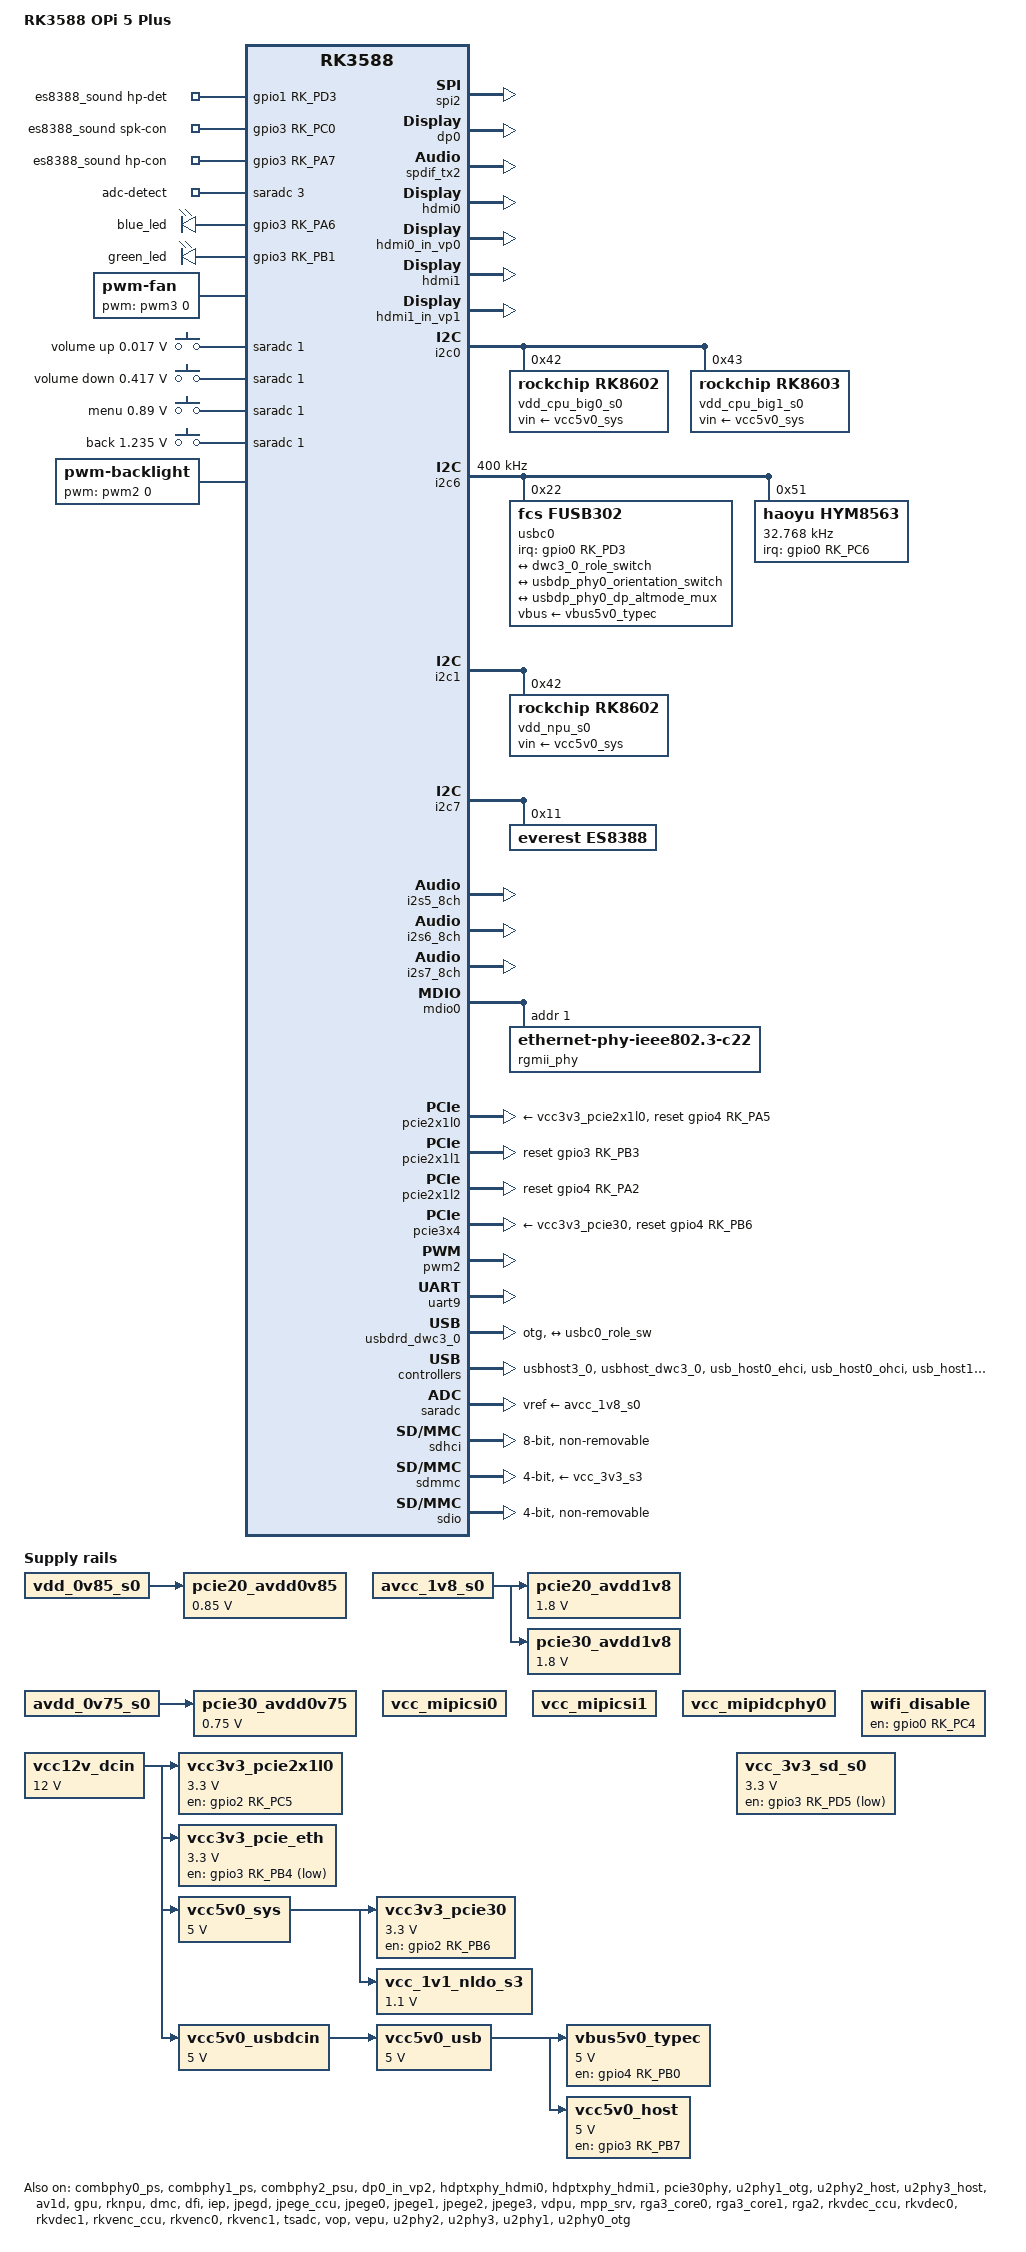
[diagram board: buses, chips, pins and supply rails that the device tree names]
// SPDX-License-Identifier: (GPL-2.0+ OR MIT)
/*
 * Copyright (c) 2022 Rockchip Electronics Co., Ltd.
 *
 */

/dts-v1/;

#include <dt-bindings/gpio/gpio.h>
#include <dt-bindings/leds/common.h>
#include <dt-bindings/pwm/pwm.h>
#include <dt-bindings/pinctrl/rockchip.h>
#include <dt-bindings/input/rk-input.h>
#include <dt-bindings/display/drm_mipi_dsi.h>
#include <dt-bindings/display/rockchip_vop.h>
#include <dt-bindings/sensor-dev.h>
#include "dt-bindings/usb/pd.h"
#include "rk3588.dtsi"
#include "rk3588-rk806-single.dtsi"
#include "rk3588-linux.dtsi"

/ {
    model = "RK3588 OPi 5 Plus";
	compatible = "rockchip,rk3588-orangepi-5-plus", "rockchip,rk3588";

    /delete-node/ chosen;


    /* If hdmirx node is disabled, delete the reserved-memory node here. */
	reserved-memory {
		#address-cells = <2>;
		#size-cells = <2>;
		ranges;

		/* Reserve 128MB memory for hdmirx-controller@fdee0000 */
		cma {
			compatible = "shared-dma-pool";
			reusable;
			reg = <0x0 (256 * 0x100000) 0x0 (256 * 0x100000)>;
			linux,cma-default;
		};
	};

	hdmiin_dc: hdmiin-dc {
		compatible = "rockchip,dummy-codec";
		#sound-dai-cells = <0>;
	};

	es8388_sound: es8388-sound {
		status = "okay";
		compatible = "rockchip,multicodecs-card";
		rockchip,card-name = "rockchip,es8388";
		hp-det-gpio = <&gpio1 RK_PD3 GPIO_ACTIVE_HIGH>;
		io-channels = <&saradc 3>;
		io-channel-names = "adc-detect";
		keyup-threshold-microvolt = <1800000>;
		poll-interval = <100>;
		spk-con-gpio = <&gpio3 RK_PC0 GPIO_ACTIVE_HIGH>;
		hp-con-gpio = <&gpio3 RK_PA7 GPIO_ACTIVE_HIGH>;
		rockchip,format = "i2s";
		rockchip,mclk-fs = <256>;
		rockchip,cpu = <&i2s0_8ch>;
		rockchip,codec = <&es8388>;
		rockchip,audio-routing =
			"Headphone", "LOUT1",
			"Headphone", "ROUT1",
			"Speaker", "LOUT2",
			"Speaker", "ROUT2",
			"Headphone", "Headphone Power",
			"Headphone", "Headphone Power",
			"Speaker", "Speaker Power",
			"Speaker", "Speaker Power",
			"LINPUT1", "Main Mic",
			"LINPUT2", "Main Mic",
			"RINPUT1", "Headset Mic",
			"RINPUT2", "Headset Mic";
		pinctrl-names = "default";
		pinctrl-0 = <&hp_det>;
		play-pause-key {
			label = "playpause";
			linux,code = <KEY_PLAYPAUSE>;
			press-threshold-microvolt = <2000>;
		};
	};


	hdmiin-sound {
		compatible = "simple-audio-card";
		simple-audio-card,format = "i2s";
		simple-audio-card,name = "rockchip,hdmiin";
		simple-audio-card,bitclock-master = <&dailink0_master>;
		simple-audio-card,frame-master = <&dailink0_master>;
		status = "okay";
		simple-audio-card,cpu {
			sound-dai = <&i2s7_8ch>;
		};
		dailink0_master: simple-audio-card,codec {
			sound-dai = <&hdmiin_dc>;
		};
	};

	pcie20_avdd0v85: pcie20-avdd0v85 {
		compatible = "regulator-fixed";
		regulator-name = "pcie20_avdd0v85";
		regulator-boot-on;
		regulator-always-on;
		regulator-min-microvolt = <850000>;
		regulator-max-microvolt = <850000>;
		vin-supply = <&vdd_0v85_s0>;
	};

	pcie20_avdd1v8: pcie20-avdd1v8 {
		compatible = "regulator-fixed";
		regulator-name = "pcie20_avdd1v8";
		regulator-boot-on;
		regulator-always-on;
		regulator-min-microvolt = <1800000>;
		regulator-max-microvolt = <1800000>;
		vin-supply = <&avcc_1v8_s0>;
	};

	pcie30_avdd0v75: pcie30-avdd0v75 {
		compatible = "regulator-fixed";
		regulator-name = "pcie30_avdd0v75";
		regulator-boot-on;
		regulator-always-on;
		regulator-min-microvolt = <750000>;
		regulator-max-microvolt = <750000>;
		vin-supply = <&avdd_0v75_s0>;
	};

	pcie30_avdd1v8: pcie30-avdd1v8 {
		compatible = "regulator-fixed";
		regulator-name = "pcie30_avdd1v8";
		regulator-boot-on;
		regulator-always-on;
		regulator-min-microvolt = <1800000>;
		regulator-max-microvolt = <1800000>;
		vin-supply = <&avcc_1v8_s0>;
	};

	rk_headset: rk-headset {
		status = "disabled";
		compatible = "rockchip_headset";
		headset_gpio = <&gpio1 RK_PD3 GPIO_ACTIVE_HIGH>;
		pinctrl-names = "default";
		pinctrl-0 = <&hp_det>;
		io-channels = <&saradc 3>;
	};

	vbus5v0_typec: vbus5v0-typec {
		compatible = "regulator-fixed";
		regulator-name = "vbus5v0_typec";
		regulator-min-microvolt = <5000000>;
		regulator-max-microvolt = <5000000>;
		enable-active-high;
		gpio = <&gpio4 RK_PB0 GPIO_ACTIVE_HIGH>;
		vin-supply = <&vcc5v0_usb>;
		pinctrl-names = "default";
		pinctrl-0 = <&typec5v_pwren>;
	};

	vcc3v3_pcie30: vcc3v3-pcie30 {
		compatible = "regulator-fixed";
		regulator-name = "vcc3v3_pcie30";
		regulator-min-microvolt = <3300000>;
		regulator-max-microvolt = <3300000>;
		enable-active-high;
		gpios = <&gpio2 RK_PB6 GPIO_ACTIVE_HIGH>;
		startup-delay-us = <5000>;
		vin-supply = <&vcc5v0_sys>;
	};

	vcc5v0_host: vcc5v0-host {
		compatible = "regulator-fixed";
		regulator-name = "vcc5v0_host";
		regulator-boot-on;
		regulator-always-on;
		regulator-min-microvolt = <5000000>;
		regulator-max-microvolt = <5000000>;
		enable-active-high;
		gpio = <&gpio3 RK_PB7 GPIO_ACTIVE_HIGH>;
		vin-supply = <&vcc5v0_usb>;
		pinctrl-names = "default";
		pinctrl-0 = <&vcc5v0_host_en>;
	};

	vcc3v3_pcie2x1l0: vcc3v3-pcie2x1l0 {
		compatible = "regulator-fixed";
		regulator-name = "vcc3v3_pcie2x1l0";
		regulator-min-microvolt = <3300000>;
		regulator-max-microvolt = <3300000>;
		enable-active-high;
		gpios = <&gpio2 RK_PC5 GPIO_ACTIVE_HIGH>;
		startup-delay-us = <50000>;
		vin-supply = <&vcc12v_dcin>;
	};

	vcc3v3_pcie_eth: vcc3v3-pcie-eth {
		compatible = "regulator-fixed";
		regulator-name = "vcc3v3_pcie_eth";
		regulator-min-microvolt = <3300000>;
		regulator-max-microvolt = <3300000>;
		regulator-boot-on;
		regulator-always-on;
		enable-active-low;
		gpios = <&gpio3 RK_PB4 GPIO_ACTIVE_LOW>;
		startup-delay-us = <50000>;
		vin-supply = <&vcc12v_dcin>;
	};

	vcc_mipicsi0: vcc-mipicsi0-regulator {
		compatible = "regulator-fixed";
		regulator-name = "vcc_mipicsi0";
		enable-active-high;
	};

	vcc_mipicsi1: vcc-mipicsi1-regulator {
		compatible = "regulator-fixed";
		regulator-name = "vcc_mipicsi1";
		enable-active-high;
	};

	vcc_mipidcphy0: vcc-mipidcphy0-regulator {
		compatible = "regulator-fixed";
		regulator-name = "vcc_mipicsi1";
		enable-active-high;
	};

	wireless_bluetooth: wireless-bluetooth {
		compatible = "bluetooth-platdata";
		clocks = <&hym8563>;
		clock-names = "ext_clock";
		uart_rts_gpios = <&gpio4 RK_PC4 GPIO_ACTIVE_LOW>;
		pinctrl-names = "default", "rts_gpio";
		pinctrl-0 = <&uart9m0_rtsn>, <&bt_reset_gpio>, <&bt_wake_gpio>, <&bt_irq_gpio>;
		pinctrl-1 = <&uart9_gpios>;
		BT,reset_gpio    = <&gpio0 RK_PC5 GPIO_ACTIVE_HIGH>;
		BT,wake_gpio     = <&gpio4 RK_PC6 GPIO_ACTIVE_HIGH>;
		BT,wake_host_irq = <&gpio0 RK_PA0 GPIO_ACTIVE_HIGH>;
		status = "disabled";
	};

	wireless_wlan: wireless-wlan {
		compatible = "wlan-platdata";
		wifi_chip_type = "ap6275p";
		pinctrl-names = "default";
		pinctrl-0 = <&wifi_host_wake_irq>;
		WIFI,host_wake_irq = <&gpio0 RK_PB0 GPIO_ACTIVE_HIGH>;
		status = "disabled";
	};

	wifi_disable: wifi-diable-gpio-regulator {
		compatible = "regulator-fixed";
		regulator-name = "wifi_disable";
		enable-active-high;
		gpio = <&gpio0 RK_PC4 GPIO_ACTIVE_HIGH>;
		regulator-boot-on;
		regulator-always-on;
	};

	leds: gpio-leds {
		compatible = "gpio-leds";
		pinctrl-names = "default";
		pinctrl-0 =<&leds_rgb>;
		status = "okay";

		blue_led@1 {
			gpios = <&gpio3 RK_PA6 GPIO_ACTIVE_HIGH>;
			label = "blue_led";
			linux,default-trigger = "heartbeat";
			linux,default-trigger-delay-ms = <0>;
		};

		green_led@2 {
			gpios = <&gpio3 RK_PB1 GPIO_ACTIVE_HIGH>;
			label = "green_led";
			linux,default-trigger = "heartbeat";
			linux,default-trigger-delay-ms = <0>;
		};
	};

	fan: pwm-fan {
		compatible = "pwm-fan";
		#cooling-cells = <2>;
		pwms = <&pwm3 0 50000 0>;
		cooling-levels = <0 50 100 150 200 255>;
		rockchip,temp-trips = <
			50000   1
			55000   2
			60000   3
			65000   4
			70000   5
		>;

		status = "okay";
	};

	adc_keys: adc-keys {
		compatible = "adc-keys";
		io-channels = <&saradc 1>;
		io-channel-names = "buttons";
		keyup-threshold-microvolt = <1800000>;
		poll-interval = <100>;

		vol-up-key {
			label = "volume up";
			linux,code = <KEY_VOLUMEUP>;
			press-threshold-microvolt = <17000>;
		};

		vol-down-key {
			label = "volume down";
			linux,code = <KEY_VOLUMEDOWN>;
			press-threshold-microvolt = <417000>;
		};

		menu-key {
			label = "menu";
			linux,code = <KEY_MENU>;
			press-threshold-microvolt = <890000>;
		};

		back-key {
			label = "back";
			linux,code = <KEY_BACK>;
			press-threshold-microvolt = <1235000>;
		};
	};

	backlight: backlight {
		compatible = "pwm-backlight";
		brightness-levels = <
			  0  20  20  21  21  22  22  23
			 23  24  24  25  25  26  26  27
			 27  28  28  29  29  30  30  31
			 31  32  32  33  33  34  34  35
			 35  36  36  37  37  38  38  39
			 40  41  42  43  44  45  46  47
			 48  49  50  51  52  53  54  55
			 56  57  58  59  60  61  62  63
			 64  65  66  67  68  69  70  71
			 72  73  74  75  76  77  78  79
			 80  81  82  83  84  85  86  87
			 88  89  90  91  92  93  94  95
			 96  97  98  99 100 101 102 103
			104 105 106 107 108 109 110 111
			112 113 114 115 116 117 118 119
			120 121 122 123 124 125 126 127
			128 129 130 131 132 133 134 135
			136 137 138 139 140 141 142 143
			144 145 146 147 148 149 150 151
			152 153 154 155 156 157 158 159
			160 161 162 163 164 165 166 167
			168 169 170 171 172 173 174 175
			176 177 178 179 180 181 182 183
			184 185 186 187 188 189 190 191
			192 193 194 195 196 197 198 199
			200 201 202 203 204 205 206 207
			208 209 210 211 212 213 214 215
			216 217 218 219 220 221 222 223
			224 225 226 227 228 229 230 231
			232 233 234 235 236 237 238 239
			240 241 242 243 244 245 246 247
			248 249 250 251 252 253 254 255
		>;
		default-brightness-level = <200>;
	};

	test-power {
		status = "disabled";
	};

	vcc12v_dcin: vcc12v-dcin {
		compatible = "regulator-fixed";
		regulator-name = "vcc12v_dcin";
		regulator-always-on;
		regulator-boot-on;
		regulator-min-microvolt = <12000000>;
		regulator-max-microvolt = <12000000>;
	};
	vcc5v0_sys: vcc5v0-sys {
		compatible = "regulator-fixed";
		regulator-name = "vcc5v0_sys";
		regulator-always-on;
		regulator-boot-on;
		regulator-min-microvolt = <5000000>;
		regulator-max-microvolt = <5000000>;
		vin-supply = <&vcc12v_dcin>;
	};
	vcc5v0_usbdcin: vcc5v0-usbdcin {
		compatible = "regulator-fixed";
		regulator-name = "vcc5v0_usbdcin";
		regulator-always-on;
		regulator-boot-on;
		regulator-min-microvolt = <5000000>;
		regulator-max-microvolt = <5000000>;
		vin-supply = <&vcc12v_dcin>;
	};

	vcc5v0_usb: vcc5v0-usb {
		compatible = "regulator-fixed";
		regulator-name = "vcc5v0_usb";
		regulator-always-on;
		regulator-boot-on;
		regulator-min-microvolt = <5000000>;
		regulator-max-microvolt = <5000000>;
		vin-supply = <&vcc5v0_usbdcin>;
	};

	spi2: spi@feb20000 {
		compatible = "rockchip,rk3066-spi";
		reg = <0x0 0xfeb20000 0x0 0x1000>;
		interrupts = <GIC_SPI 328 IRQ_TYPE_LEVEL_HIGH>;
		#address-cells = <1>;
		#size-cells = <0>;
		clocks = <&cru CLK_SPI2>, <&cru PCLK_SPI2>;
		clock-names = "spiclk", "apb_pclk";
		dmas = <&dmac1 15>, <&dmac1 16>;
		dma-names = "tx", "rx";
		pinctrl-names = "default";
		pinctrl-0 = <&spi2m2_cs0 &spi2m2_pins>;
		num-cs = <2>;
		status = "okay";
	};

	vcc_1v1_nldo_s3: vcc-1v1-nldo-s3 {
		compatible = "regulator-fixed";
		regulator-name = "vcc_1v1_nldo_s3";
		regulator-always-on;
		regulator-boot-on;
		regulator-min-microvolt = <1100000>;
		regulator-max-microvolt = <1100000>;
		vin-supply = <&vcc5v0_sys>;
	};

	vcc_3v3_sd_s0: vcc-3v3-sd-s0 {
		compatible = "regulator-fixed";
		regulator-name = "vcc_3v3_sd_s0";
		regulator-min-microvolt = <3300000>;
		regulator-max-microvolt = <3300000>;
		gpios = <&gpio3 RK_PD5 GPIO_ACTIVE_LOW>;
		pinctrl-names = "default";
		pinctrl-0 = <&sdmmc_pwr>;
		enable-active-low;
	};

	dp0_sound: dp0-sound {
		status = "disabled";
		compatible = "rockchip,hdmi";
		rockchip,card-name= "rockchip,dp0";
		rockchip,mclk-fs = <512>;
		rockchip,cpu = <&spdif_tx2>;
		rockchip,codec = <&dp0 1>;
		rockchip,jack-det;
	};

	dp1_sound: dp1-sound {
		status = "disabled";
		compatible = "rockchip,hdmi";
		rockchip,card-name= "rockchip,dp1";
		rockchip,mclk-fs = <512>;
		rockchip,cpu = <&spdif_tx5>;
		rockchip,codec = <&dp1 1>;
		rockchip,jack-det;
	};

	hdmi0_sound: hdmi0-sound {
		status = "disabled";
		compatible = "rockchip,hdmi";
		rockchip,mclk-fs = <128>;
		rockchip,card-name = "rockchip-hdmi0";
		rockchip,cpu = <&i2s5_8ch>;
		rockchip,codec = <&hdmi0>;
		rockchip,jack-det;
	};

	hdmi1_sound: hdmi1-sound {
		status = "disabled";
		compatible = "rockchip,hdmi";
		rockchip,mclk-fs = <128>;
		rockchip,card-name = "rockchip-hdmi1";
		rockchip,cpu = <&i2s6_8ch>;
		rockchip,codec = <&hdmi1>;
		rockchip,jack-det;
	};


};


&dsi0 {
	status = "disabled";
	//rockchip,lane-rate = <1000>;
	dsi0_panel: panel@0 {
		status = "disabled";
		compatible = "innolux,afj101-ba2131";
		reg = <0>;
		backlight = <&backlight>;

		ports {
			#address-cells = <1>;
			#size-cells = <0>;

			port@0 {
				reg = <0>;
				panel_in_dsi: endpoint {
					remote-endpoint = <&dsi_out_panel>;
				};
			};
		};
	};

	ports {
		#address-cells = <1>;
		#size-cells = <0>;

		port@1 {
			reg = <1>;
			dsi_out_panel: endpoint {
				remote-endpoint = <&panel_in_dsi>;
			};
		};
	};
};

&dsi1 {
	status = "disabled";
	//rockchip,lane-rate = <1000>;
	dsi1_panel: panel@0 {
		status = "disabled";
		compatible = "innolux,afj101-ba2131";
		reg = <0>;
		backlight = <&backlight>;

		ports {
			#address-cells = <1>;
			#size-cells = <0>;

			port@0 {
				reg = <0>;
				panel_in_dsi1: endpoint {
					remote-endpoint = <&dsi1_out_panel>;
				};
			};
		};
	};

	ports {
		#address-cells = <1>;
		#size-cells = <0>;

		port@1 {
			reg = <1>;
			dsi1_out_panel: endpoint {
				remote-endpoint = <&panel_in_dsi1>;
			};
		};
	};
};

&backlight {
	pwms = <&pwm2 0 25000 0>;
	status = "okay";
};

&can2 {
	status = "disabled";
};

&combphy0_ps {
	status = "okay";
};

&combphy1_ps {
	status = "okay";
};

&combphy2_psu {
	status = "okay";
};

&dp0 {
	status = "okay";
};

&dp0_in_vp0 {
	status = "disabled";
};

&dp0_in_vp1 {
	status = "disabled";
};

&dp0_in_vp2 {
	status = "okay";
};

&dp0_sound{
        status = "okay";
};

&spdif_tx2{
	status = "okay";
};

/*
 * mipi_dcphy0 needs to be enabled
 * when dsi0 is enabled
 */
&dsi0 {
	status = "disabled";
};

&dsi0_in_vp2 {
	status = "disabled";
};

&dsi0_in_vp3 {
	status = "disabled";
};

&dsi0_panel {
	status = "disabled";
};

/*
 * mipi_dcphy1 needs to be enabled
 * when dsi1 is enabled
 */
&dsi1 {
	status = "disabled";
	pinctrl-names = "default";
	pinctrl-0 = <&mipi_te1>;
};

&dsi1_in_vp2 {
	status = "disabled";
};

&dsi1_in_vp3 {
	status = "disabled";
};

&dsi1_panel {
	status = "disabled";
};

&gmac0 {
	status = "disabled";
};

&hdmi0 {
	status = "okay";
	enable-gpios = <&gpio4 RK_PB1 GPIO_ACTIVE_HIGH>;
	cec-enable = "true";
};

&hdmi0_in_vp0 {
	status = "okay";
};

&hdmi0_in_vp1 {
	status = "disabled";
};

&hdmi0_in_vp2 {
	status = "disabled";
};

&hdmi0_sound {
	status = "okay";
};

&hdmi1 {
	status = "okay";
	enable-gpios = <&gpio4 RK_PB2 GPIO_ACTIVE_HIGH>;
	cec-enable = "true";
};

&hdmi1_in_vp0 {
	status = "disabled";
};

&hdmi1_in_vp1 {
	status = "okay";
};

&hdmi1_in_vp2 {
	status = "disabled";
};

&hdmi1_sound {
	status = "okay";
};

/* Should work with at least 128MB cma reserved above. */
&hdmirx_ctrler {
	status = "disabled";

	/* Effective level used to trigger HPD: 0-low, 1-high */
	hpd-trigger-level = <1>;
	hdmirx-det-gpios = <&gpio1 RK_PC6 GPIO_ACTIVE_LOW>;

	pinctrl-names = "default";
	pinctrl-0 = <&hdmim1_rx_cec &hdmim1_rx_hpdin &hdmim1_rx_scl &hdmim1_rx_sda &hdmirx_det>;
};

&hdptxphy_hdmi0 {
	status = "okay";
};

&hdptxphy_hdmi1 {
	status = "okay";
};

&i2c0 {
	status = "okay";
	pinctrl-names = "default";
	pinctrl-0 = <&i2c0m2_xfer>;

	vdd_cpu_big0_s0: vdd_cpu_big0_mem_s0: rk8602@42 {
		compatible = "rockchip,rk8602";
		reg = <0x42>;
		vin-supply = <&vcc5v0_sys>;
		regulator-compatible = "rk860x-reg";
		regulator-name = "vdd_cpu_big0_s0";
		regulator-min-microvolt = <550000>;
		regulator-max-microvolt = <1050000>;
		regulator-ramp-delay = <2300>;
		rockchip,suspend-voltage-selector = <1>;
		regulator-boot-on;
		regulator-always-on;
		regulator-state-mem {
			regulator-off-in-suspend;
		};
	};

	vdd_cpu_big1_s0: vdd_cpu_big1_mem_s0: rk8603@43 {
		compatible = "rockchip,rk8603";
		reg = <0x43>;
		vin-supply = <&vcc5v0_sys>;
		regulator-compatible = "rk860x-reg";
		regulator-name = "vdd_cpu_big1_s0";
		regulator-min-microvolt = <550000>;
		regulator-max-microvolt = <1050000>;
		regulator-ramp-delay = <2300>;
		rockchip,suspend-voltage-selector = <1>;
		regulator-boot-on;
		regulator-always-on;
		regulator-state-mem {
			regulator-off-in-suspend;
		};
	};
};

&i2c6 {
	status = "okay";
	clock-frequency = <400000>;
	pinctrl-names = "default";
	pinctrl-0 = <&i2c6m0_xfer>;

	usbc0: fusb302@22 {
		compatible = "fcs,fusb302";
		reg = <0x22>;
		interrupt-parent = <&gpio0>;
		interrupts = <RK_PD3 IRQ_TYPE_LEVEL_LOW>;
		pinctrl-names = "default";
		pinctrl-0 = <&usbc0_int>;
		vbus-supply = <&vbus5v0_typec>;
		status = "okay";

		ports {
			#address-cells = <1>;
			#size-cells = <0>;

			port@0 {
				reg = <0>;
				usbc0_role_sw: endpoint@0 {
					remote-endpoint = <&dwc3_0_role_switch>;
				};
			};
		};

		usb_con: connector {
			compatible = "usb-c-connector";
			label = "USB-C";
			data-role = "dual";
			power-role = "dual";
			try-power-role = "sink";
			op-sink-microwatt = <1000000>;
			sink-pdos =
				<PDO_FIXED(5000, 1000, PDO_FIXED_USB_COMM)>;
			source-pdos =
				<PDO_FIXED(5000, 3000, PDO_FIXED_USB_COMM)>;

			altmodes {
				#address-cells = <1>;
				#size-cells = <0>;

				altmode@0 {
					reg = <0>;
					svid = <0xff01>;
					vdo = <0xffffffff>;
				};
			};

			ports {
				#address-cells = <1>;
				#size-cells = <0>;

				port@0 {
					reg = <0>;
					usbc0_orien_sw: endpoint {
						remote-endpoint = <&usbdp_phy0_orientation_switch>;
					};
				};

				port@1 {
					reg = <1>;
					dp_altmode_mux: endpoint {
						remote-endpoint = <&usbdp_phy0_dp_altmode_mux>;
					};
				};
			};
		};
	};

	hym8563: hym8563@51 {
		compatible = "haoyu,hym8563";
		reg = <0x51>;
		#clock-cells = <0>;
		clock-frequency = <32768>;
		clock-output-names = "hym8563";
		pinctrl-names = "default";
		pinctrl-0 = <&hym8563_int>;
		interrupt-parent = <&gpio0>;
		interrupts = <RK_PC6 IRQ_TYPE_LEVEL_LOW>;
		status = "okay";
	};

};

&i2c1 {
	status = "okay";
	pinctrl-names = "default";
	pinctrl-0 = <&i2c1m2_xfer>;

	vdd_npu_s0: vdd_npu_mem_s0: rk8602@42 {
		compatible = "rockchip,rk8602";
		reg = <0x42>;
		vin-supply = <&vcc5v0_sys>;
		regulator-compatible = "rk860x-reg";
		regulator-name = "vdd_npu_s0";
		regulator-min-microvolt = <550000>;
		regulator-max-microvolt = <950000>;
		regulator-ramp-delay = <2300>;
		rockchip,suspend-voltage-selector = <1>;
		regulator-boot-on;
		regulator-always-on;
		regulator-state-mem {
			regulator-off-in-suspend;
		};
	};
};

&i2c7 {
	status = "okay";
	es8388: es8388@11 {
		status = "okay";
		#sound-dai-cells = <0>;
		compatible = "everest,es8388", "everest,es8323";
		reg = <0x11>;
		clocks = <&cru I2S0_8CH_MCLKOUT>;
		clock-names = "mclk";
		assigned-clocks = <&cru I2S0_8CH_MCLKOUT>;
		assigned-clock-rates = <12288000>;
		pinctrl-names = "default";
		pinctrl-0 = <&i2s0_mclk>;
	};
};

&i2s5_8ch {
	status = "okay";
};

&i2s6_8ch {
	status = "okay";
};

&i2s7_8ch {
	status = "okay";
};

&mdio0 {
	rgmii_phy: phy@1 {
		compatible = "ethernet-phy-ieee802.3-c22";
		reg = <0x1>;
	};
};

&mipi_dcphy0 {
	status = "disabled";
};

&mipi_dcphy1 {
	status = "disabled";
};

//phy1
&pcie2x1l0 {
	reset-gpios = <&gpio4 RK_PA5 GPIO_ACTIVE_HIGH>;
	vpcie3v3-supply = <&vcc3v3_pcie2x1l0>;
	rockchip,skip-scan-in-resume;
	status = "okay";
};

//phy2
&pcie2x1l1 {
	reset-gpios = <&gpio3 RK_PB3 GPIO_ACTIVE_HIGH>;
	status = "okay";
};

//phy0
&pcie2x1l2 {
	reset-gpios = <&gpio4 RK_PA2 GPIO_ACTIVE_HIGH>;
	status = "okay";
};

&pcie30phy {
	rockchip,pcie30-phymode = <PHY_MODE_PCIE_AGGREGATION>;
	status = "okay";
};

&pcie3x4 {
	reset-gpios = <&gpio4 RK_PB6 GPIO_ACTIVE_HIGH>;
	vpcie3v3-supply = <&vcc3v3_pcie30>;
	status = "okay";
};

&pinctrl {
	hdmi {
		hdmirx_det: hdmirx-det {
			rockchip,pins = <1 RK_PC6 RK_FUNC_GPIO &pcfg_pull_up>;
		};
	};

	headphone {
		hp_det: hp-det {
			rockchip,pins = <1 RK_PD3 RK_FUNC_GPIO &pcfg_pull_none>;
		};
	};

	hym8563 {
		hym8563_int: hym8563-int {
			rockchip,pins = <0 RK_PC6 RK_FUNC_GPIO &pcfg_pull_up>;
		};
	};

	lcd {
		lcd_rst_gpio: lcd-rst-gpio {
			rockchip,pins = <2 RK_PC1 RK_FUNC_GPIO &pcfg_pull_none>;
		};
	};

	usb {
		vcc5v0_host_en: vcc5v0-host-en {
			rockchip,pins = <3 RK_PB7 RK_FUNC_GPIO &pcfg_pull_none>;
		};
	};

	usb-typec {
		usbc0_int: usbc0-int {
			rockchip,pins = <0 RK_PD3 RK_FUNC_GPIO &pcfg_pull_up>;
		};

		typec5v_pwren: typec5v-pwren {
			rockchip,pins = <4 RK_PB0 RK_FUNC_GPIO &pcfg_pull_none>;
		};
	};

	wireless-bluetooth {
		uart9_gpios: uart9-gpios {
			rockchip,pins = <4 RK_PC4 RK_FUNC_GPIO &pcfg_pull_none>;
		};

		bt_reset_gpio: bt-reset-gpio {
			rockchip,pins = <0 RK_PC5 RK_FUNC_GPIO &pcfg_pull_none>;
		};

		bt_wake_gpio: bt-wake-gpio {
			rockchip,pins = <4 RK_PC6 RK_FUNC_GPIO &pcfg_pull_none>;
		};

		bt_irq_gpio: bt-irq-gpio {
			rockchip,pins = <0 RK_PA0 RK_FUNC_GPIO &pcfg_pull_down>;
		};
	};

	wireless-wlan {
		wifi_host_wake_irq: wifi-host-wake-irq {
			rockchip,pins = <0 RK_PB0 RK_FUNC_GPIO &pcfg_pull_down>;
		};
	};

	sdmmc {
		sdmmc_pwr: sdmmc_pwr {
			rockchip,pins = <3 RK_PD5 RK_FUNC_GPIO &pcfg_pull_down>;
		};
	};
};

&pwm2 {
	pinctrl-names = "active";
	pinctrl-0 = <&pwm2m2_pins>;
	status = "okay";
};


&u2phy1_otg {
	phy-supply = <&vcc5v0_host>;
};

&u2phy2_host {
	phy-supply = <&vcc5v0_host>;
};

&u2phy3_host {
	phy-supply = <&vcc5v0_host>;
};

&uart9 {
	status = "okay";
	pinctrl-names = "default";
	pinctrl-0 = <&uart9m0_xfer &uart9m0_ctsn>;
};

&usbdp_phy0 {
	orientation-switch;
	svid = <0xff01>;
	sbu1-dc-gpios = <&gpio4 RK_PA6 GPIO_ACTIVE_HIGH>;
	sbu2-dc-gpios = <&gpio4 RK_PA7 GPIO_ACTIVE_HIGH>;

	port {
		#address-cells = <1>;
		#size-cells = <0>;
		usbdp_phy0_orientation_switch: endpoint@0 {
			reg = <0>;
			remote-endpoint = <&usbc0_orien_sw>;
		};

		usbdp_phy0_dp_altmode_mux: endpoint@1 {
			reg = <1>;
			remote-endpoint = <&dp_altmode_mux>;
		};
	};
};

&usbdp_phy1 {
	rockchip,dp-lane-mux = <2 3>;
};

&usbdrd_dwc3_0 {
	status = "okay";
	dr_mode = "otg";
	usb-role-switch;
	port {
		#address-cells = <1>;
		#size-cells = <0>;
		dwc3_0_role_switch: endpoint@0 {
			reg = <0>;
			remote-endpoint = <&usbc0_role_sw>;
		};
	};
};

&usbhost3_0 {
	status = "disabled";
};

&usbhost_dwc3_0 {
	status = "disabled";
};

&av1d {
	status = "okay";
};

&av1d_mmu {
	status = "okay";
};


&cpu_l0 {
	cpu-supply = <&vdd_cpu_lit_s0>;
	mem-supply = <&vdd_cpu_lit_mem_s0>;
};

&cpu_b0 {
	cpu-supply = <&vdd_cpu_big0_s0>;
	mem-supply = <&vdd_cpu_big0_mem_s0>;
};

&cpu_b2 {
	cpu-supply = <&vdd_cpu_big1_s0>;
	mem-supply = <&vdd_cpu_big1_mem_s0>;
};


&gpu {
	mali-supply = <&vdd_gpu_s0>;
	mem-supply = <&vdd_gpu_mem_s0>;
	status = "okay";
};

&rknpu {
	rknpu-supply = <&vdd_npu_s0>;
	mem-supply = <&vdd_npu_mem_s0>;
	status = "okay";
};

&rknpu_mmu {
	status = "okay";
};
&dmc {
	center-supply = <&vdd_ddr_s0>;
	mem-supply = <&vdd_log_s0>;
	status = "okay";
};



&dfi {
	status = "okay";
};
&iep {
	status = "okay";
};
&iep_mmu {
	status = "okay";
};

&jpegd {
	status = "okay";
};

&jpegd_mmu {
	status = "okay";
};

&jpege_ccu {
	status = "okay";
};

&jpege0 {
	status = "okay";
};

&jpege0_mmu {
	status = "okay";
};

&jpege1 {
	status = "okay";
};

&jpege1_mmu {
	status = "okay";
};

&jpege2 {
	status = "okay";
};

&jpege2_mmu {
	status = "okay";
};

&jpege3 {
	status = "okay";
};

&jpege3_mmu {
	status = "okay";
};

&vdpu {
	status = "okay";
};

&vdpu_mmu {
	status = "okay";
};



&mpp_srv {
	status = "okay";
};


&rga3_core0 {
	status = "okay";
};

&rga3_0_mmu {
	status = "okay";
};

&rga3_core1 {
	status = "okay";
};

&rga3_1_mmu {
	status = "okay";
};

&rga2 {
	status = "okay";
};



&rkvdec_ccu {
	status = "okay";
};

&rkvdec0 {
	status = "okay";
};

&rkvdec0_mmu {
	status = "okay";
};

&rkvdec1 {
	status = "okay";
};

&rkvdec1_mmu {
	status = "okay";
};

&rkvenc_ccu {
	status = "okay";
};

&rkvenc0 {
	status = "okay";
};

&rkvenc0_mmu {
	status = "okay";
};

&rkvenc1 {
	status = "okay";
};

&rkvenc1_mmu {
	status = "okay";
};

&saradc {
	status = "okay";
	vref-supply = <&avcc_1v8_s0>;
};


&sdhci {
	bus-width = <8>;
	no-sdio;
	no-sd;
	non-removable;
	max-frequency = <200000000>;
	mmc-hs400-1_8v;
	status = "okay";
};


&sdmmc {
	max-frequency = <200000000>;
	no-sdio;
	no-mmc;
	bus-width = <4>;
	cap-mmc-highspeed;
	cap-sd-highspeed;
	disable-wp;
	sd-uhs-sdr104;
	vmmc-supply = <&vcc_3v3_s3>;
	vqmmc-supply = <&vccio_sd_s0>;
	pinctrl-names = "default";
	pinctrl-0 = <&sdmmc_bus4 &sdmmc_clk &sdmmc_cmd &sdmmc_det>;
	status = "okay";
};

&sdio {
	max-frequency = <150000000>;
	supports-sdio;
	bus-width = <4>;
	disable-wp;
	cap-sd-highspeed;
	cap-sdio-irq;
	keep-power-in-suspend;
	mmc-pwrseq = <&sdio_pwrseq>;
	non-removable;
	num-slots = <1>;
	pinctrl-names = "default";
	pinctrl-0 = <&sdiom0_pins>;
	sd-uhs-sdr104;
	status = "okay";
};


&soc_thermal {
	polling-delay = <1000>;
	polling-delay-passive = <2000>;
	trips {
		trip0: trip-point@0 {
			temperature = <45000>;
			hysteresis = <5000>;
			type = "active";
		};
		trip1: trip-point@1 {
			temperature = <50000>;
			hysteresis = <5000>;
			type = "active";
		};
		trip2: trip-point@2 {
			temperature = <55000>;
			hysteresis = <5000>;
			type = "active";
		};
		trip3: trip-point@3 {
			temperature = <60000>;
			hysteresis = <5000>;
			type = "active";
		};
		trip4: trip-point@4 {
			temperature = <65000>;
			hysteresis = <5000>;
			type = "active";
		};
		trip5: trip-point@5 {
			temperature = <70000>;
			hysteresis = <5000>;
			type = "active";
		};
		trip6: trip-point@6 {
			temperature = <75000>;
			hysteresis = <5000>;
			type = "active";
		};
		pcritical: trip-point@7 {
			temperature = <80000>;
			hysteresis = <1000>;
			type = "active";
		};
	};
	cooling-maps {
		map0 {
			trip = <&trip0>;
			cooling-device = <&fan0 0 1>;
			contribution = <1024>;
		};
		map1 {
			trip = <&trip1>;
			cooling-device = <&fan0 1 2>;
			contribution = <1024>;
		};
		map2 {
			trip = <&trip2>;
			cooling-device = <&fan0 2 3>;
			contribution = <1024>;
		};
		map3 {
			trip = <&trip3>;
			cooling-device = <&fan0 3 4>;
			contribution = <1024>;
		};
		map4 {
			trip = <&trip4>;
			cooling-device = <&fan0 4 5>;
			contribution = <1024>;
		};
		map5 {
			trip = <&trip5>;
			cooling-device = <&fan0 5 6>;
			contribution = <1024>;
		};
		map6 {
			trip = <&trip6>;
			cooling-device = <&fan0 6 7>;
			contribution = <1024>;
		};
		map7 {
			trip = <&pcritical>;
			cooling-device = <&fan0 7 8>;
			contribution = <1024>;
		};
	};
};

&uart6 {
	status = "disabled";
	pinctrl-names = "default";
	pinctrl-0 = <&uart6m1_xfer>;
};

&tsadc {
	status = "okay";
};

&hdmirx_ctrler {
	status = "disabled";
};

&vop {
	status = "okay";
};

&vop_mmu {
	status = "okay";
};

&vepu {
	status = "okay";
};

/* vp0 & vp1 splice for 8K output */
&vp0 {
	rockchip,plane-mask = <(1 << ROCKCHIP_VOP2_CLUSTER0 | 1 << ROCKCHIP_VOP2_ESMART0)>;
	rockchip,primary-plane = <ROCKCHIP_VOP2_CLUSTER0>;
	cursor-win-id = <ROCKCHIP_VOP2_ESMART0>;
};

&vp1 {
	rockchip,plane-mask = <(1 << ROCKCHIP_VOP2_CLUSTER1 | 1 << ROCKCHIP_VOP2_ESMART1)>;
	rockchip,primary-plane = <ROCKCHIP_VOP2_CLUSTER1>;
	cursor-win-id = <ROCKCHIP_VOP2_ESMART1>;
};

&vp2 {
	rockchip,plane-mask = <(1 << ROCKCHIP_VOP2_CLUSTER2 | 1 << ROCKCHIP_VOP2_ESMART2)>;
	rockchip,primary-plane = <ROCKCHIP_VOP2_CLUSTER2>;
	cursor-win-id = <ROCKCHIP_VOP2_ESMART2>;
};

&vp3 {
	rockchip,plane-mask = <(1 << ROCKCHIP_VOP2_CLUSTER3 | 1 << ROCKCHIP_VOP2_ESMART3)>;
	rockchip,primary-plane = <ROCKCHIP_VOP2_CLUSTER3>;
	cursor-win-id = <ROCKCHIP_VOP2_ESMART3>;
};



&sata0 {
	status = "disabled";
};

&u2phy2 {
	status = "okay";
};

&u2phy2_host {
	status = "okay";
};

&u2phy3 {
	status = "okay";
};

&u2phy3_host {
	status = "okay";
};

&usb_host0_ehci {
	status = "okay";
};

&usb_host0_ohci {
	status = "okay";
};

&usb_host1_ehci {
	status = "okay";
};

&usb_host1_ohci {
	status = "okay";
};

&usbhost3_0 {
	status = "okay";
};

&usbhost_dwc3_0 {
	status = "okay";
};

&u2phy1 {
	status = "okay";
};

&u2phy1_otg {
	status = "okay";
};
&u2phy0_otg {
	rockchip,typec-vbus-det;
	status = "okay";
};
